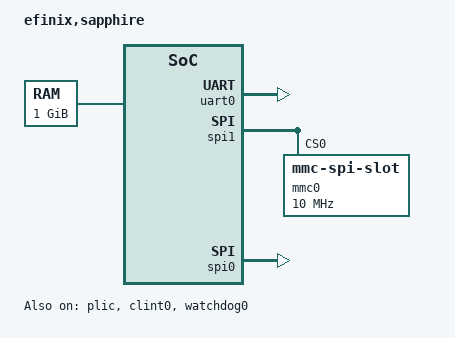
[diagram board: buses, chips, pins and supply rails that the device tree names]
/dts-v1/;
#include <config.h>
/include/ "sapphire.dtsi"

/ {
	#address-cells = <2>;
	#size-cells = <2>;
	model = "efinix,sapphire";

	
	memory {
		device_type = "memory";
		reg = <0x8 0x000000 0x0 0x40000000>;
	};
	
		
        chosen {
        	stdout-path = "serial0:115200n8";
        	bootargs = "console=ttyS0,115200n8";
        };
		
        aliases {
        	serial0 = &uart0;
        };
	
	

        wdt-reboot {
        	compatible = "wdt-reboot";
        	clock-frequency = <50000000>;
        	wdt = <&watchdog0>;
        	status = "okay";
        };


};

&plic {
        device_type = "interrupt-controller";
        compatible = "sifive,plic-1.0.0";
        #interrupt-cells = <2>;
        riscv,ndev = <32>;
        status = "okay";
};

&clint0 {
        compatible = "riscv,clint0";
        status = "okay";
};

&uart0 {
        device_type = "serial";
        compatible = "riscv_sbi,uart";
        status = "okay";
};

&spi1 {
        compatible = "vexriscv,spi";
        status = "okay";
	mmc0: mmc@0 {
		reg = <0>;
		compatible = "mmc-spi-slot";
		spi-max-frequency = <10000000>;
	};
};

&spi0 {
        compatible = "vexriscv,spi";
        status = "okay";
};

&watchdog0 {
        compatible = "efx,efx-wdt";
        status = "okay";
};
